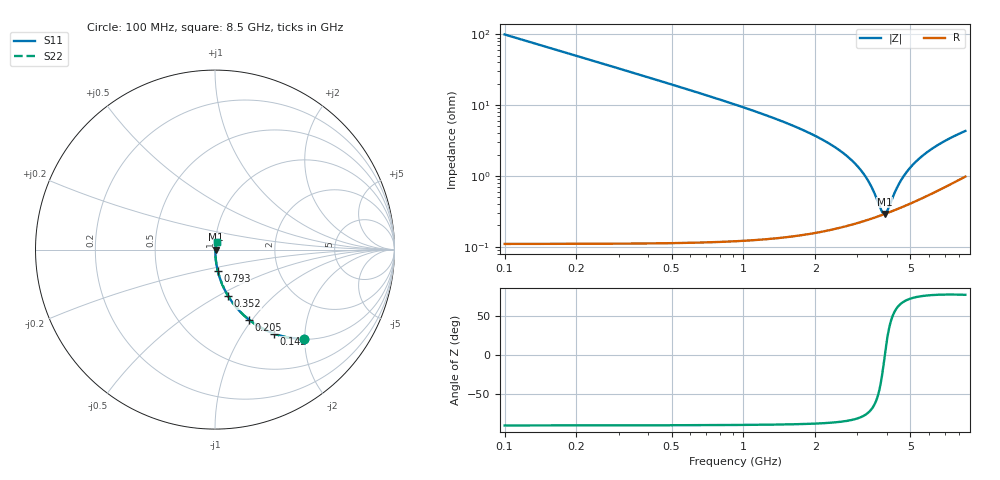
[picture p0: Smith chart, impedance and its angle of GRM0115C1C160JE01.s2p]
!Murata Part Number: GRM0115C1C160JE01
!These Parameters are Measured in Series Mode Connection
!Data Generated on Mar 30, 2021
!  o--ll--o
!Port1  Port2
!  o------o
!Operation Temp=25[degC], DC Bias Voltage=0[V]
!Freq. Start=100[MHz] Stop=9[GHz] 401[Steps]
# Hz S RI R 50
!Freq.(Hz) S11(Real) S11(Imag) S21(Real) S21(Imag) S12(Real) S12(Imag) S22(Real) S22(Imag)
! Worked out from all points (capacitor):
!   401 points, 100 MHz to 8.5 GHz, reference 50 ohm
!   read as one part in series: C = 16 pF near 142 MHz
!   lowest |Z| = 289 mohm at 3.901 GHz (marker M1)
!   series resonance near 3.91 GHz, so ESL is about 100 pH
!   S11 on the Smith chart (normalised r, x): 100 MHz: 1.00, -1.99; 142 MHz: 1.00, -1.40; 205 MHz: 1.00, -0.97; 352 MHz: 1.00, -0.56; 793 MHz: 1.00, -0.24; 8.5 GHz: 1.02, +0.08
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1e8  0.497 -0.4994  0.503 0.4994  0.503 0.4994  0.497 -0.4994
1.42e8  0.3288 -0.469  0.6712 0.469  0.6712 0.469  0.3288 -0.469
2.05e8  0.1903 -0.3914  0.8097 0.3914  0.8097 0.3914  0.1903 -0.3914
2.68e8  0.1208 -0.3244  0.8792 0.3244  0.8792 0.3244  0.1208 -0.3244
3.52e8  0.0737 -0.2593  0.9263 0.2593  0.9263 0.2593  0.0737 -0.2593
5.41e8  0.0325 -0.1743  0.9675 0.1743  0.9675 0.1743  0.0325 -0.1743
7.93e8  0.0154 -0.1183  0.9846 0.1183  0.9846 0.1183  0.0154 -0.1183
1.507e9  0.00449 -0.0558  0.9955 0.0558  0.9955 0.0558  0.00449 -0.0558
2.431e9  0.00241 -0.0249  0.9976 0.0249  0.9976 0.0249  0.00241 -0.0249
2.914e9  0.00231 -0.0151  0.9977 0.0151  0.9977 0.0151  0.00231 -0.0151
3.313e9  0.00245 -0.00839  0.9975 0.00839  0.9975 0.00839  0.00245 -0.00839
3.502e9  0.00256 -0.00556  0.9974 0.00556  0.9974 0.00556  0.00256 -0.00556
3.775e9  0.00277 -0.00177  0.9972 0.00177  0.9972 0.00177  0.00277 -0.00177
3.901e9  0.00288 -0.000116  0.9971 0.000116  0.9971 0.000116  0.00288 -0.000116
4.006e9  0.00298 0.00122  0.997 -0.00122  0.997 -0.00122  0.00298 0.00122
4.3e9  0.00329 0.00477  0.9967 -0.00477  0.9967 -0.00477  0.00329 0.00477
4.552e9  0.00359 0.00764  0.9964 -0.00764  0.9964 -0.00764  0.00359 0.00764
4.867e9  0.00401 0.011  0.996 -0.011  0.996 -0.011  0.00401 0.011
5.245e9  0.00456 0.0148  0.9954 -0.0148  0.9954 -0.0148  0.00456 0.0148
5.707e9  0.00532 0.0192  0.9947 -0.0192  0.9947 -0.0192  0.00532 0.0192
7.114e9  0.00807 0.031  0.9919 -0.031  0.9919 -0.031  0.00807 0.031
8.5e9  0.0114 0.0411  0.9886 -0.0411  0.9886 -0.0411  0.0114 0.0411
